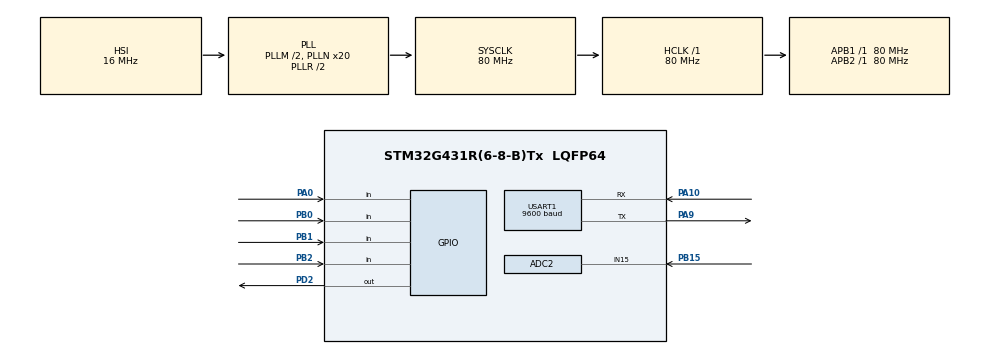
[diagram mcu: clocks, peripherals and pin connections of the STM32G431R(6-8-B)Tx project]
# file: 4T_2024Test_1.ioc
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ADC2.Channel-0\#ChannelRegularConversion=ADC_CHANNEL_15
ADC2.ClockPrescaler=ADC_CLOCK_ASYNC_DIV2
ADC2.NbrOfConversionFlag=1
ADC2.OffsetNumber-0\#ChannelRegularConversion=ADC_OFFSET_NONE
ADC2.Rank-0\#ChannelRegularConversion=1
ADC2.SamplingTime-0\#ChannelRegularConversion=ADC_SAMPLETIME_640CYCLES_5
Mcu.Family=STM32G4
Mcu.Name=STM32G431R(6-8-B)Tx
Mcu.Package=LQFP64
NVIC.PriorityGroup=NVIC_PRIORITYGROUP_4
NVIC.USART1_IRQn=true\:0\:0\:false\:false\:true\:true\:true\:true
PA0.Signal=GPIO_Input
PA10.Mode=Asynchronous
PA10.Signal=USART1_RX
PA13.Mode=Serial_Wire
PA13.Signal=SYS_JTMS-SWDIO
PA14.Mode=Serial_Wire
PA14.Signal=SYS_JTCK-SWCLK
PA9.Mode=Asynchronous
PA9.Signal=USART1_TX
PB0.Signal=GPIO_Input
PB1.Signal=GPIO_Input
PB15.Mode=IN15-Single-Ended
PB15.Signal=ADC2_IN15
PB2.Signal=GPIO_Input
PD2.Signal=GPIO_Output
PF0-OSC_IN.Mode=HSE-External-Oscillator
PF0-OSC_IN.Signal=RCC_OSC_IN
PF1-OSC_OUT.Mode=HSE-External-Oscillator
PF1-OSC_OUT.Signal=RCC_OSC_OUT
ProjectManager.HeapSize=0x200
ProjectManager.StackSize=0x400
ProjectManager.TargetToolchain=MDK-ARM V5.32
RCC.ADC12Freq_Value=80000000
RCC.AHBFreq_Value=80000000
RCC.APB1Freq_Value=80000000
RCC.APB1TimFreq_Value=80000000
RCC.APB2Freq_Value=80000000
RCC.APB2TimFreq_Value=80000000
RCC.CortexFreq_Value=80000000
RCC.EXTERNAL_CLOCK_VALUE=12288000
RCC.HCLKFreq_Value=80000000
RCC.HSE_VALUE=24000000
RCC.HSI48_VALUE=48000000
RCC.HSI_VALUE=16000000
RCC.LSE_VALUE=32768
RCC.PLLM=RCC_PLLM_DIV2
RCC.PLLN=20
RCC.SYSCLKFreq_VALUE=80000000
RCC.SYSCLKSource=RCC_SYSCLKSOURCE_PLLCLK
RCC.USBFreq_Value=80000000
RCC.VCOOutputFreq_Value=160000000
USART1.BaudRate=9600
USART1.VirtualMode-Asynchronous=VM_ASYNC
VP_SYS_VS_DBSignals.Mode=DisableDeadBatterySignals
board=custom

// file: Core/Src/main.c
/* USER CODE BEGIN Header */
/**
  ******************************************************************************
  * @file           : main.c
  * @brief          : Main program body
  ******************************************************************************
  * @attention
  *
  * Copyright (c) 2024 STMicroelectronics.
  * All rights reserved.
  *
  * This software is licensed under terms that can be found in the LICENSE file
  * in the root directory of this software component.
  * If no LICENSE file comes with this software, it is provided AS-IS.
  *
  ******************************************************************************
  */
/* USER CODE END Header */
#include "main.h"
#include "adc.h"
#include "usart.h"
#include "gpio.h"

/* USER CODE BEGIN Includes */
#include "stdio.h"
#include "string.h"
#include "led.h"
#include "lcd.h"
#include "key.h"
/* USER CODE END Includes */

/* USER CODE BEGIN PV */
__IO uint32_t lcd_uwtick;
__IO uint32_t key_uwtick;
__IO uint32_t led_uwtick;
__IO uint32_t dir_uwtick;

uint8_t lcd_str[20];

uint8_t key_val,key_down,key_up,key_old;

uint8_t menu_flag=0;
uint8_t warn_flag=0;
uint8_t led_flag=0;
uint8_t fail_flag=0;
uint8_t rx;
char tx_str[50];

char direction='S';
float distance=0.0;

/* USER CODE END PV */

void SystemClock_Config(void);
/* USER CODE BEGIN PFP */
void lcd_Proc(void);
void key_Proc(void);
void led_Proc(void);
void menu1(void);
void menu2(void);

float get_distance(void);

/* USER CODE END PFP */

int main(void)
{

  /* MCU Configuration--------------------------------------------------------*/

  /* Reset of all peripherals, Initializes the Flash interface and the Systick. */
  HAL_Init();

  /* Configure the system clock */
  SystemClock_Config();

  /* Initialize all configured peripherals */
  MX_GPIO_Init();
  MX_ADC2_Init();
  MX_USART1_UART_Init();
  /* USER CODE BEGIN 2 */

	LCD_Init();
	LCD_Clear(Black);
    LCD_SetBackColor(Black);
    LCD_SetTextColor(White);

	led_disp(0x00);

	HAL_UART_Receive_IT(&huart1,&rx,1);

//	LCD_DisplayStringLine(Line4, (unsigned char *)"    Hello,world.   ");

  /* USER CODE END 2 */

  /* Infinite loop */
  /* USER CODE BEGIN WHILE */
  while (1)
  {
	  led_Proc();
	  lcd_Proc();

	  key_Proc();

//	  led_disp(0x08);
//	  HAL_Delay(100);
//	  led_disp(0x00);
//	  HAL_Delay(100);

      if(uwTick-dir_uwtick>5000&&warn_flag==1)
      {
		fail_flag=1;
		warn_flag=0;
		LCD_Clear(Black);
		menu_flag=1;
		sprintf(tx_str,"Warn\r\n");
		HAL_UART_Transmit(&huart1,(uint8_t*)tx_str,strlen(tx_str),50);
	  }

    /* USER CODE END WHILE */

  }
}

void SystemClock_Config(void)
{
  RCC_OscInitTypeDef RCC_OscInitStruct = {0};
  RCC_ClkInitTypeDef RCC_ClkInitStruct = {0};

  /** Configure the main internal regulator output voltage
  */
  HAL_PWREx_ControlVoltageScaling(PWR_REGULATOR_VOLTAGE_SCALE1);

  /** Initializes the RCC Oscillators according to the specified parameters
  * in the RCC_OscInitTypeDef structure.
  */
  RCC_OscInitStruct.OscillatorType = RCC_OSCILLATORTYPE_HSI;
  RCC_OscInitStruct.HSIState = RCC_HSI_ON;
  RCC_OscInitStruct.HSICalibrationValue = RCC_HSICALIBRATION_DEFAULT;
  RCC_OscInitStruct.PLL.PLLState = RCC_PLL_ON;
  RCC_OscInitStruct.PLL.PLLSource = RCC_PLLSOURCE_HSI;
  RCC_OscInitStruct.PLL.PLLM = RCC_PLLM_DIV2;
  RCC_OscInitStruct.PLL.PLLN = 20;
  RCC_OscInitStruct.PLL.PLLP = RCC_PLLP_DIV2;
  RCC_OscInitStruct.PLL.PLLQ = RCC_PLLQ_DIV2;
  RCC_OscInitStruct.PLL.PLLR = RCC_PLLR_DIV2;
  if (HAL_RCC_OscConfig(&RCC_OscInitStruct) != HAL_OK)
  {
    Error_Handler();
  }

  /** Initializes the CPU, AHB and APB buses clocks
  */
  RCC_ClkInitStruct.ClockType = RCC_CLOCKTYPE_HCLK|RCC_CLOCKTYPE_SYSCLK
                              |RCC_CLOCKTYPE_PCLK1|RCC_CLOCKTYPE_PCLK2;
  RCC_ClkInitStruct.SYSCLKSource = RCC_SYSCLKSOURCE_PLLCLK;
  RCC_ClkInitStruct.AHBCLKDivider = RCC_SYSCLK_DIV1;
  RCC_ClkInitStruct.APB1CLKDivider = RCC_HCLK_DIV1;
  RCC_ClkInitStruct.APB2CLKDivider = RCC_HCLK_DIV1;

  if (HAL_RCC_ClockConfig(&RCC_ClkInitStruct, FLASH_LATENCY_2) != HAL_OK)
  {
    Error_Handler();
  }
}

/* USER CODE BEGIN 4 */
void HAL_UART_RxCpltCallback(UART_HandleTypeDef *huart)
{
	if(uwTick-dir_uwtick >5000 )
	{
		if(menu_flag==0)
		{
			if(rx=='L')
			{
				warn_flag=1;
		//		sprintf(tx_str,"hello\r\n");
				dir_uwtick = uwTick;
				direction = 'L';
			}
			else if(rx=='R')
			{
				dir_uwtick = uwTick;
				warn_flag=1;

				direction = 'R';
	//			sprintf(tx_str,"h\r\n");
			}
			else
			{
				sprintf(tx_str,"ERROR\r\n");
				HAL_UART_Transmit(&huart1,(uint8_t*)tx_str,strlen(tx_str),50);
			}
		}
	}
//	if(uwTick-dir_uwtick>5000&&warn_flag==1)
//	{
//		warn_flag=0;
//		LCD_Clear(Black);
//		menu_flag=1;
//		sprintf(tx_str,"Warn\r\n");
//		HAL_UART_Transmit(&huart1,(uint8_t*)tx_str,strlen(tx_str),50);
//	}
//	if(warn_flag==1)
//	{
//		sprintf(tx_str,"ERROR\r\n");
//		HAL_UART_Transmit(&huart1,(uint8_t*)tx_str,strlen(tx_str),50);
//	}
//	else
//	{
	if(fail_flag==1)
	{
		sprintf(tx_str,"Warn\r\n");
		HAL_UART_Transmit(&huart1,(uint8_t*)tx_str,strlen(tx_str),50);
	}
	else
	{
		if(menu_flag==1)
		{
			sprintf(tx_str,"WAIT\r\n");
			HAL_UART_Transmit(&huart1,(uint8_t*)tx_str,strlen(tx_str),50);
		}
		HAL_UART_Receive_IT(&huart1,&rx,1);
	}

}
void led_Proc(void)
{
	if(menu_flag==0)
	{
		if(direction=='L')
		{

			if(uwTick-led_uwtick>100)
			{
				led_uwtick = uwTick;
				if(led_flag)
				{
					led_flag = 0;
					led_disp(0x01);
				}else{
					led_flag = 1;
					led_disp(0x00);
				}
			}
//			if(uwTick-led_uwtick<100)
//				led_disp(0x01);
//			else if(uwTick-led_uwtick>=100&&uwTick-led_uwtick<200)
//			{
//				led_disp(0x00);
//
//			}
//			else
//			{
//				led_uwtick=uwTick;
//			}
		}
		else if(direction=='R')
		{
			if(uwTick-led_uwtick>100)
			{
				led_uwtick = uwTick;
				if(led_flag)
				{
					led_flag = 0;
					led_disp(0x02);
				}else{
					led_flag = 1;
					led_disp(0x00);
				}
			}
		}
		else
			led_disp(0x00);
	}
	else if(menu_flag==1)
	{
		led_disp(0x80);
	}
}

void lcd_Proc(void)
{
	if(uwTick-lcd_uwtick<500)return;
	lcd_uwtick=uwTick;

	if(menu_flag==0)
		menu1();
	else
		menu2();

//	sprintf((char*)lcd_str,"hell0");
//	LCD_DisplayStringLine(Line0,lcd_str);

}

void key_Proc(void)
{
	if(uwTick-key_uwtick<50)return;
	key_uwtick=uwTick;
	key_val=key_scan();
	key_down =key_val&(key_old^key_val);
	key_up =~key_val&(key_old^key_val);
	key_old = key_val;

	switch(key_down)
	{
		case 1:

			if(menu_flag==1)
			{
				fail_flag=0;
				warn_flag=0;
				LCD_Clear(Black);
				menu_flag=0;
				direction = 'S';
				sprintf(tx_str,"Success\r\n");
				HAL_UART_Transmit(&huart1,(uint8_t*)tx_str,strlen(tx_str),50);
			}
			break;
		case 3:
			if(menu_flag==0)
			{
				if(direction == 'L')
				{
//					if(uwTick-dir_uwtick>5000)
//					{
//						LCD_Clear(Black);
//						menu_flag=1;
//						sprintf(tx_str,"Warn\r\n");
//						HAL_UART_Transmit(&huart1,(uint8_t*)tx_str,strlen(tx_str),50);
//					}
					if(uwTick-dir_uwtick<5000)
					{
						warn_flag=0;
						direction = 'S';
						sprintf(tx_str,"Success\r\n");
						HAL_UART_Transmit(&huart1,(uint8_t*)tx_str,strlen(tx_str),50);
					}
				}
				else if(direction == 'S')
				{
					menu_flag=1;
					LCD_Clear(Black);
					sprintf(tx_str,"Warn\r\n");
					HAL_UART_Transmit(&huart1,(uint8_t*)tx_str,strlen(tx_str),50);
				}
			}

			break;
		case 4:
			if(menu_flag==0)
			{
				if(direction == 'R')
				{
//					if(uwTick-dir_uwtick>5000)
//					{
//						LCD_Clear(Black);
//						menu_flag=1;
//						sprintf(tx_str,"Warn\r\n");
//						HAL_UART_Transmit(&huart1,(uint8_t*)tx_str,strlen(tx_str),50);
//					}
					if(uwTick-dir_uwtick<5000)
					{
						direction = 'S';
						warn_flag=0;
						sprintf(tx_str,"Success\r\n");
						HAL_UART_Transmit(&huart1,(uint8_t*)tx_str,strlen(tx_str),50);
					}
				}
				else if(direction == 'S')
				{
					menu_flag=1;
					LCD_Clear(Black);
					sprintf(tx_str,"Warn\r\n");
					HAL_UART_Transmit(&huart1,(uint8_t*)tx_str,strlen(tx_str),50);
				}
			}
			break;
	}

//	if(key_down)
//	{
//		sprintf((char*)lcd_str,"key:%d",key_down);
//		LCD_DisplayStringLine(Line2,lcd_str);
//	}

}
void menu1(void)
{
	sprintf((char*)lcd_str,"        DATA    ");
	LCD_DisplayStringLine(Line1,lcd_str);
	sprintf((char*)lcd_str,"       N:%c        ",direction);
	LCD_DisplayStringLine(Line3,lcd_str);

	distance=get_distance();
	sprintf((char*)lcd_str,"       D:%.1f      ",distance);
	LCD_DisplayStringLine(Line4,lcd_str);
}
void menu2(void)
{
	sprintf((char*)lcd_str,"        WARN       ");
	LCD_DisplayStringLine(Line4,lcd_str);
}
float get_distance(void)
{
	float dis,vol;
	uint16_t adc;
	HAL_ADC_Start(&hadc2);
	adc = HAL_ADC_GetValue(&hadc2);
	vol = 3.3*adc/4096;
	if(vol>=3.0f)
		dis = 300.0;
	else
		dis = vol*100;
	return dis;

}
/* USER CODE END 4 */

void Error_Handler(void)
{
  __disable_irq();
  while (1)
  {
  }
}
